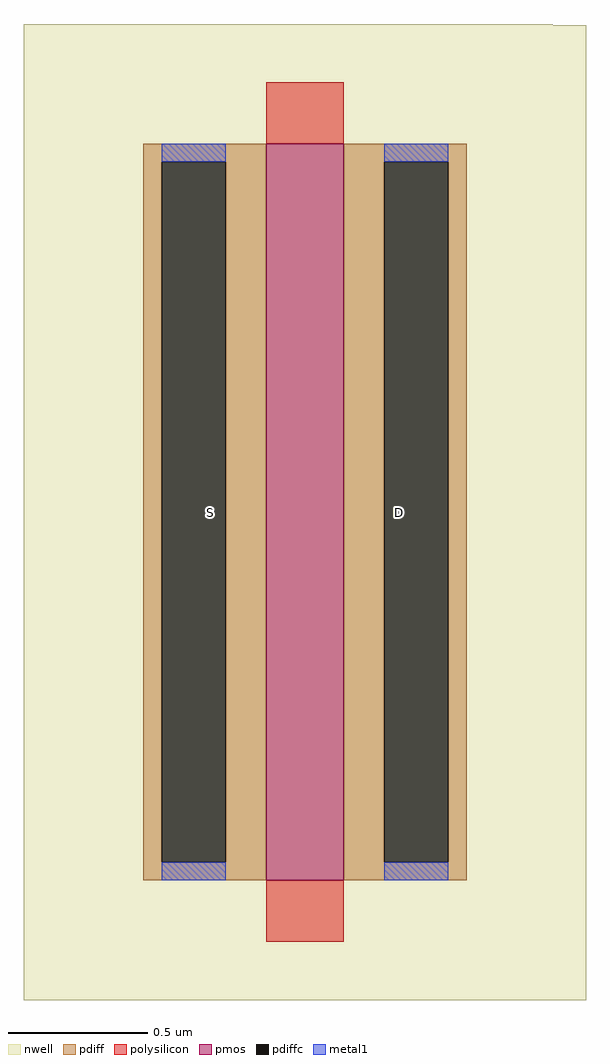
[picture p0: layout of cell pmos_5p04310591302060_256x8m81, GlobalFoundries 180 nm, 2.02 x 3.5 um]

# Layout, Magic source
magic
tech gf180mcuD
magscale 1 10
<< nwell >>
rect -174 614 206 615
rect -174 -86 230 614
<< pmos >>
rect 0 0 56 529
<< pdiff >>
rect -88 516 0 529
rect -88 13 -75 516
rect -29 13 0 516
rect -88 0 0 13
rect 56 516 144 529
rect 56 13 85 516
rect 131 13 144 516
rect 56 0 144 13
<< pdiffc >>
rect -75 13 -29 516
rect 85 13 131 516
<< polysilicon >>
rect 0 529 56 573
rect 0 -44 56 0
<< metal1 >>
rect -75 516 -29 529
rect -75 0 -29 13
rect 85 516 131 529
rect 85 0 131 13
<< labels >>
flabel pdiffc -40 264 -40 264 0 FreeSans 186 0 0 0 S
flabel pdiffc 96 264 96 264 0 FreeSans 186 0 0 0 D
<< end >>
